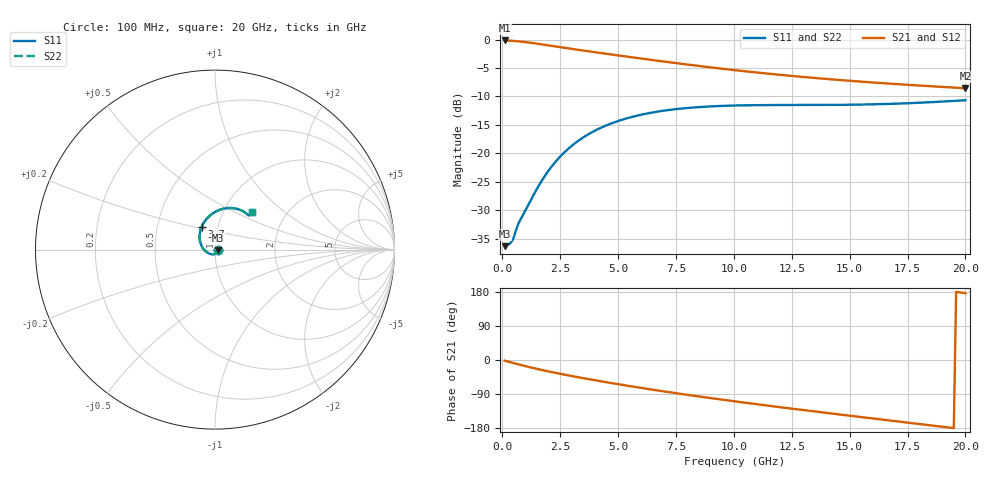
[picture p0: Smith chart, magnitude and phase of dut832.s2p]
! Touchstone file exported from HFSS 2024.1.0
!  File:  C:/UserFiles/LocalFiles/RDL_TSV_Batchsim/temp_RDL_TSV_832_1779918161.aedt
!  Generated:  05:57:58 AM May 28, 2026
!  Design:  RDL_TSV
!  Project:  temp_RDL_TSV_832_1779918161
!  Setup:  Setup1
!  Solution:  Sweep
! Variables:
!  dtsv = 13.8um
!  hbump = 3um
!  htsv = 84.84um
!  ldown = 277.91um
!  lrdl = 323.9um
!  p = 40
!  p1 = 41.54um
!  rhole = 10um
!  subl = 2129.33um
!  t = 450um
!  tdown = 3.91um
!  trdl = 3.6um
!  viad = 10um
!  wdown = 14.24um
!  wrdl = 13.39um
!  xbump = 18um
# GHz S MA R 50.000000
! Terminal data exported
! Port[1] = TM1_1_T1
! Port[2] = TM1_4_T1
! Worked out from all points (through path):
!   200 points, 100 MHz to 20 GHz, reference 50 ohm
!   highest |S21| = -0.14 dB at 100 MHz (marker M1); lowest = -8.5 dB at 20 GHz (marker M2)
!   group delay of S21, straight-line fit = 24 ps
!   lowest |S11| = -36.3 dB at 100 MHz (marker M3), VSWR 1.03, Z = 51.5 - j0.374 ohm
!   |S11| at or under -10 dB: start of sweep to end of sweep
!   |S22| runs from -36.3 to -10.6 dB; largest |S21 - S12| = 1.7e-14
!   S11 on the Smith chart (normalised r, x): 100 MHz: 1.03, -0.01; 3.7 GHz: 0.84, +0.22; 20 GHz: 1.35, +0.62
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0.1  0.01523 -13.8  0.9844 -1.7  0.9844 -1.7  0.01523 -13.8
! Gamma 0 0 0 0
! Port Impedance 50 0 50 0
0.4  0.01666 -52.2  0.9782 -6.7  0.9782 -6.7  0.01661 -52.1
0.5  0.01827 -62.7  0.9749 -8.4  0.9749 -8.4  0.01823 -62.2
0.6  0.02132 -75.0  0.9712 -10.0  0.9712 -10.0  0.02147 -74.6
0.7  0.02422 -90.1  0.967 -11.6  0.967 -11.6  0.02438 -90.2
1.5  0.04888 -163.3  0.9225 -23.5  0.9225 -23.5  0.0489 -163.4
2  0.07052 171.1  0.8906 -30.2  0.8906 -30.2  0.07058 171.0
2.7  0.1028 145.7  0.8474 -38.8  0.8474 -38.8  0.1029 145.7
3.5  0.1382 124.9  0.8021 -48.0  0.8021 -48.0  0.1383 124.9
3.7  0.1464 120.6  0.7915 -50.2  0.7915 -50.2  0.1466 120.6
4.4  0.1728 107.5  0.7558 -57.6  0.7558 -57.6  0.1731 107.5
5.1  0.1954 96.7  0.7223 -64.8  0.7223 -64.8  0.1957 96.7
5.9  0.2164 86.6  0.6865 -72.7  0.6865 -72.7  0.2167 86.6
6.8  0.2344 77.2  0.649 -81.2  0.649 -81.2  0.2348 77.2
8.4  0.2543 64.6  0.59 -95.5  0.59 -95.5  0.2547 64.6
10.1  0.2636 55.5  0.5376 -109.6  0.5376 -109.6  0.264 55.5
11.7  0.266 50.0  0.4971 -122.2  0.4971 -122.2  0.2664 50.0
13.4  0.2663 46.7  0.4619 -135.1  0.4619 -135.1  0.2667 46.7
15  0.2675 45.3  0.4347 -147.0  0.4347 -147.0  0.2679 45.3
16.7  0.2721 45.1  0.4106 -159.4  0.4106 -159.4  0.2725 45.1
18.3  0.2804 45.3  0.3915 -171.0  0.3915 -171.0  0.2808 45.4
20  0.2932 45.5  0.3738 176.7  0.3738 176.7  0.2936 45.6
